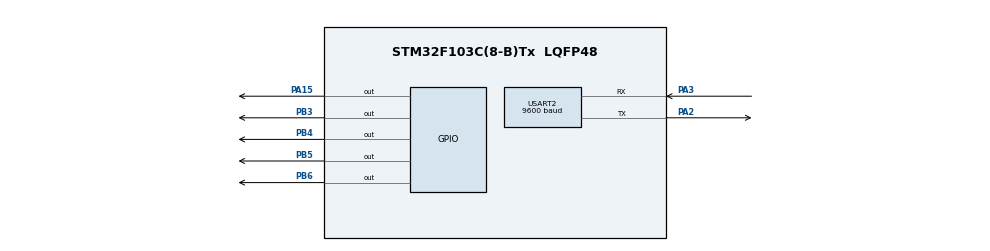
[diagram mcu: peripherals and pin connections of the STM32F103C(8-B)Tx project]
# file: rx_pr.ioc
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Mcu.Family=STM32F1
Mcu.Name=STM32F103C(8-B)Tx
Mcu.Package=LQFP48
NVIC.PriorityGroup=NVIC_PRIORITYGROUP_4
NVIC.USART2_IRQn=true\:0\:0\:false\:false\:true\:true\:true
PA13.Mode=Serial_Wire
PA13.Signal=SYS_JTMS-SWDIO
PA14.Mode=Serial_Wire
PA14.Signal=SYS_JTCK-SWCLK
PA15.Signal=GPIO_Output
PA2.Mode=Asynchronous
PA2.Signal=USART2_TX
PA3.Mode=Asynchronous
PA3.Signal=USART2_RX
PB3.Signal=GPIO_Output
PB4.Signal=GPIO_Output
PB5.Signal=GPIO_Output
PB6.Signal=GPIO_Output
PD0-OSC_IN.Mode=HSE-External-Oscillator
PD0-OSC_IN.Signal=RCC_OSC_IN
PD1-OSC_OUT.Mode=HSE-External-Oscillator
PD1-OSC_OUT.Signal=RCC_OSC_OUT
ProjectManager.HeapSize=0x200
ProjectManager.StackSize=0x400
ProjectManager.TargetToolchain=STM32CubeIDE
RCC.APB1Freq_Value=8000000
RCC.APB2Freq_Value=8000000
USART2.BaudRate=9600
USART2.VirtualMode=VM_ASYNC
board=custom

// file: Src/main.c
/* USER CODE BEGIN Header */
/**
  ******************************************************************************
  * @file           : main.c
  * @brief          : Main program body
  ******************************************************************************
  * @attention
  *
  * <h2><center>&copy; Copyright (c) 2019 STMicroelectronics.
  * All rights reserved.</center></h2>
  *
  * This software component is licensed by ST under BSD 3-Clause license,
  * the "License"; You may not use this file except in compliance with the
  * License. You may obtain a copy of the License at:
  *                        opensource.org/licenses/BSD-3-Clause
  *
  ******************************************************************************
  */
/* USER CODE END Header */

#include "main.h"

UART_HandleTypeDef huart2;

/* USER CODE BEGIN PV */
char Rx_indx, Rx_data[2], Rx_Buffer[100], location[100], Transfer_cplt;
/* USER CODE END PV */

void SystemClock_Config(void);
static void MX_GPIO_Init(void);
static void MX_USART2_UART_Init(void);

int main(void)
{

  /* MCU Configuration--------------------------------------------------------*/

  /* Reset of all peripherals, Initializes the Flash interface and the Systick. */
  HAL_Init();

  /* Configure the system clock */
  SystemClock_Config();

  /* Initialize all configured peripherals */
  MX_GPIO_Init();
  MX_USART2_UART_Init();
  /* USER CODE BEGIN 2 */
  HAL_UART_Receive_IT(&huart2, Rx_data, 1);

  LCD_setRST(GPIOB, GPIO_PIN_6);
  LCD_setCE(GPIOB, GPIO_PIN_5);
  LCD_setDC(GPIOB, GPIO_PIN_4);
  LCD_setDIN(GPIOB, GPIO_PIN_3);
  LCD_setCLK(GPIOA, GPIO_PIN_15);
  LCD_init();
  //LCD_clrScr();
  HAL_Delay(1000);

  LCD_invert(0);

  /* USER CODE END 2 */

  /* Infinite loop */
  while (1)
  {

  }
}

void SystemClock_Config(void)
{
  RCC_OscInitTypeDef RCC_OscInitStruct = {0};
  RCC_ClkInitTypeDef RCC_ClkInitStruct = {0};

  /** Initializes the CPU, AHB and APB busses clocks
  */
  RCC_OscInitStruct.OscillatorType = RCC_OSCILLATORTYPE_HSI;
  RCC_OscInitStruct.HSIState = RCC_HSI_ON;
  RCC_OscInitStruct.HSICalibrationValue = RCC_HSICALIBRATION_DEFAULT;
  RCC_OscInitStruct.PLL.PLLState = RCC_PLL_NONE;
  if (HAL_RCC_OscConfig(&RCC_OscInitStruct) != HAL_OK)
  {
    Error_Handler();
  }
  /** Initializes the CPU, AHB and APB busses clocks
  */
  RCC_ClkInitStruct.ClockType = RCC_CLOCKTYPE_HCLK|RCC_CLOCKTYPE_SYSCLK
                              |RCC_CLOCKTYPE_PCLK1|RCC_CLOCKTYPE_PCLK2;
  RCC_ClkInitStruct.SYSCLKSource = RCC_SYSCLKSOURCE_HSI;
  RCC_ClkInitStruct.AHBCLKDivider = RCC_SYSCLK_DIV1;
  RCC_ClkInitStruct.APB1CLKDivider = RCC_HCLK_DIV1;
  RCC_ClkInitStruct.APB2CLKDivider = RCC_HCLK_DIV1;

  if (HAL_RCC_ClockConfig(&RCC_ClkInitStruct, FLASH_LATENCY_0) != HAL_OK)
  {
    Error_Handler();
  }
}

static void MX_USART2_UART_Init(void)
{

  huart2.Instance = USART2;
  huart2.Init.BaudRate = 9600;
  huart2.Init.WordLength = UART_WORDLENGTH_8B;
  huart2.Init.StopBits = UART_STOPBITS_1;
  huart2.Init.Parity = UART_PARITY_NONE;
  huart2.Init.Mode = UART_MODE_TX_RX;
  huart2.Init.HwFlowCtl = UART_HWCONTROL_NONE;
  huart2.Init.OverSampling = UART_OVERSAMPLING_16;
  if (HAL_UART_Init(&huart2) != HAL_OK)
  {
    Error_Handler();
  }

}

static void MX_GPIO_Init(void)
{
  GPIO_InitTypeDef GPIO_InitStruct = {0};

  /* GPIO Ports Clock Enable */
  __HAL_RCC_GPIOD_CLK_ENABLE();
  __HAL_RCC_GPIOA_CLK_ENABLE();
  __HAL_RCC_GPIOB_CLK_ENABLE();

  /*Configure GPIO pin Output Level */
  HAL_GPIO_WritePin(GPIOA, GPIO_PIN_15, GPIO_PIN_RESET);

  /*Configure GPIO pin Output Level */
  HAL_GPIO_WritePin(GPIOB, GPIO_PIN_3|GPIO_PIN_4|GPIO_PIN_5|GPIO_PIN_6, GPIO_PIN_RESET);

  /*Configure GPIO pin : PA15 */
  GPIO_InitStruct.Pin = GPIO_PIN_15;
  GPIO_InitStruct.Mode = GPIO_MODE_OUTPUT_PP;
  GPIO_InitStruct.Pull = GPIO_NOPULL;
  GPIO_InitStruct.Speed = GPIO_SPEED_FREQ_LOW;
  HAL_GPIO_Init(GPIOA, &GPIO_InitStruct);

  /*Configure GPIO pins : PB3 PB4 PB5 PB6 */
  GPIO_InitStruct.Pin = GPIO_PIN_3|GPIO_PIN_4|GPIO_PIN_5|GPIO_PIN_6;
  GPIO_InitStruct.Mode = GPIO_MODE_OUTPUT_PP;
  GPIO_InitStruct.Pull = GPIO_NOPULL;
  GPIO_InitStruct.Speed = GPIO_SPEED_FREQ_LOW;
  HAL_GPIO_Init(GPIOB, &GPIO_InitStruct);

}

/* USER CODE BEGIN 4 */
void HAL_UART_RxCpltCallback(UART_HandleTypeDef *huart)
{
    uint8_t i;
    if (huart->Instance == USART2)  //current UART
        {
        if (Rx_indx==0) {for (i=0;i<100;i++) Rx_Buffer[i]=0;}   //clear Rx_Buffer before receiving new data

        if (Rx_data[0]!=10) //if received data different from ascii 13 (enter)
            {
            Rx_Buffer[Rx_indx++]=Rx_data[0];    //add data to Rx_Buffer
            }
        else            //if received data = 13
            {
        	//Rx_Buffer[Rx_indx++] = 13;
            Rx_indx=0;
            Transfer_cplt=1;//transfer complete, data is ready to read
            LCD_print(Rx_Buffer,0,0);
            }

         }

        HAL_UART_Receive_IT(&huart2, (uint8_t *) Rx_data, 1);   //activate UART receive interrupt every time
}
/* USER CODE END 4 */

void Error_Handler(void)
{
}

/************************ (C) COPYRIGHT STMicroelectronics *****END OF FILE****/
